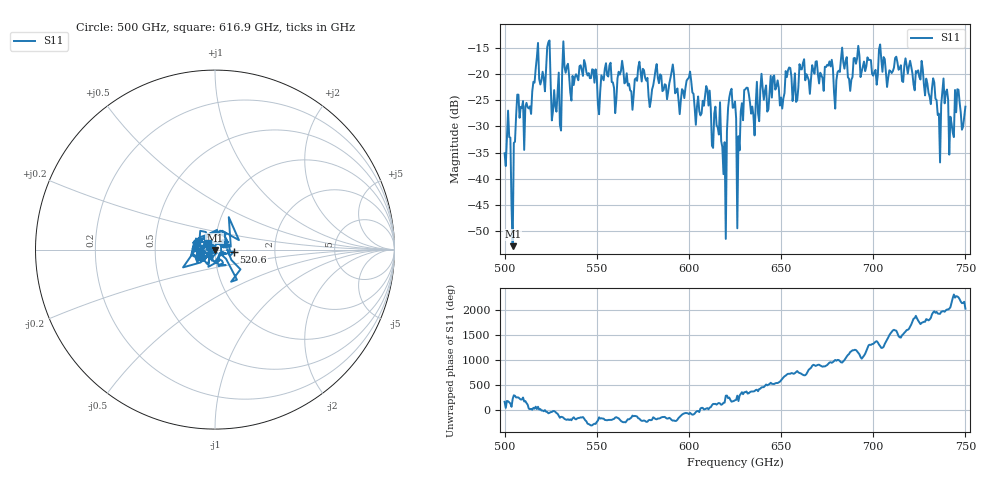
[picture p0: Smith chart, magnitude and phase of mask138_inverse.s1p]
!Created with skrf (http://scikit-rf.org).
# GHz S MA R 50.0
!freq magS11 angS11
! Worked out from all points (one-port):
!   401 points, 500 GHz to 750 GHz, reference 50 ohm
!   lowest |S11| = -52.8 dB at 504.4 GHz (marker M1), VSWR 1.00, Z = 49.8 - j0.156 ohm
!   |S11| at or under -10 dB: start of sweep to end of sweep
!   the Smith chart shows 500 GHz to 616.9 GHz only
!   S11 on the Smith chart (normalised r, x): 500 GHz: 0.97, +0.01; 520.6 GHz: 1.23, -0.03; 616.9 GHz: 0.93, +0.07
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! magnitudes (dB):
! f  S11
! 500 GHz  -35.1
! 501.9 GHz  -27.0
! 504.4 GHz  -52.8
! 507.5 GHz  -24.0
! 520.6 GHz  -19.6
! 523.8 GHz  -14.0
! 526.9 GHz  -23.1
! 531.2 GHz  -19.3
! 533.1 GHz  -19.8
! 551.9 GHz  -23.3
! 562.5 GHz  -20.2
! 593.8 GHz  -22.8
! 600 GHz  -20.7
! 616.9 GHz  -25.4
! 618.8 GHz  -39.1
! 622.5 GHz  -23.4
! 625 GHz  -25.3
! 627.5 GHz  -34.6
! 631.2 GHz  -22.6
! 635 GHz  -27.9
! 656.2 GHz  -25.2
! 687.5 GHz  -23.2
! 718.8 GHz  -19.9
! 735.6 GHz  -27.6
! 739.4 GHz  -23.5
! 742.5 GHz  -29.5
! 745.6 GHz  -22.9
! 750 GHz  -26.3
